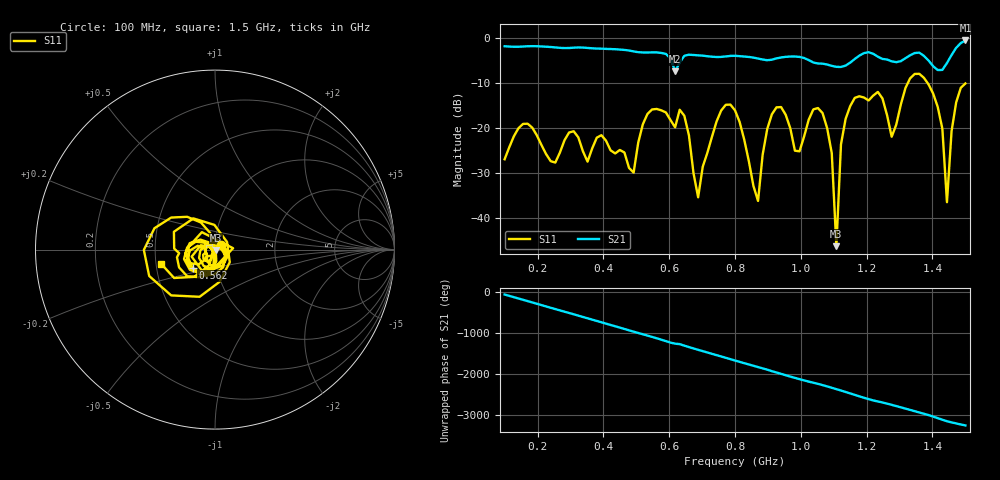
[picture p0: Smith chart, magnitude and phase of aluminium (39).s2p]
! NanoVNA-App
! Date: 2025-09-25 14:55:34
! Start: 100MHz Stop: 1,5GHz Points: 101
! S-Parameter data: F S11 S21 S12 S22
# Hz S RI R 50
!  Frequency  S11_Real  S11_Imag  S21_Real  S21_Imag  S12_Real  S12_Imag  S22_Real  S22_Imag
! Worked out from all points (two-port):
!   101 points, 100 MHz to 1.5 GHz, reference 50 ohm
!   highest |S21| = -0.63 dB at 1.5 GHz (marker M1); lowest = -7.4 dB at 618 MHz (marker M2)
!   |S21| within 3 dB of the highest: start of sweep to 590.2 MHz; 1.187 GHz to 1.221 GHz (33.72 MHz wide, 2.8 % of centre) (the widest 2 of 4)
!   lowest |S11| = -46.3 dB at 1.108 GHz (marker M3), VSWR 1.01, Z = 50.4 - j0.264 ohm
!   |S11| at or under -10 dB: start of sweep to 1.326 GHz; 1.384 GHz to end of sweep
!   S12 and S22 are empty: the file has one direction only
!   S11 on the Smith chart (normalised r, x): 100 MHz: 1.07, +0.06; 562 MHz: 0.76, -0.16; 1.5 GHz: 0.53, -0.09
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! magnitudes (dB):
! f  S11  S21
! 100 MHz  -27.0  -1.9
! 338 MHz  -25.2  -2.2
! 492 MHz  -30.0  -3.1
! 562 MHz  -15.8  -3.3
! 576 MHz  -16.1  -3.4
! 618 MHz  -19.9  -7.4
! 688 MHz  -35.5  -3.9
! 800 MHz  -16.1  -4.0
! 870 MHz  -36.3  -4.6
! 912 MHz  -17.0  -4.9
! 996 MHz  -25.2  -4.3
! 1.038 GHz  -15.9  -5.5
! 1.094 GHz  -25.6  -6.3
! 1.108 GHz  -46.3  -6.5
! 1.122 GHz  -23.7  -6.5
! 1.15 GHz  -15.2  -5.5
! 1.276 GHz  -22.0  -5.3
! 1.374 GHz  -8.9  -4.0
! 1.43 GHz  -20.2  -7.2
! 1.444 GHz  -36.5  -5.6
! 1.458 GHz  -20.8  -3.9
! 1.5 GHz  -10.2  -0.6
